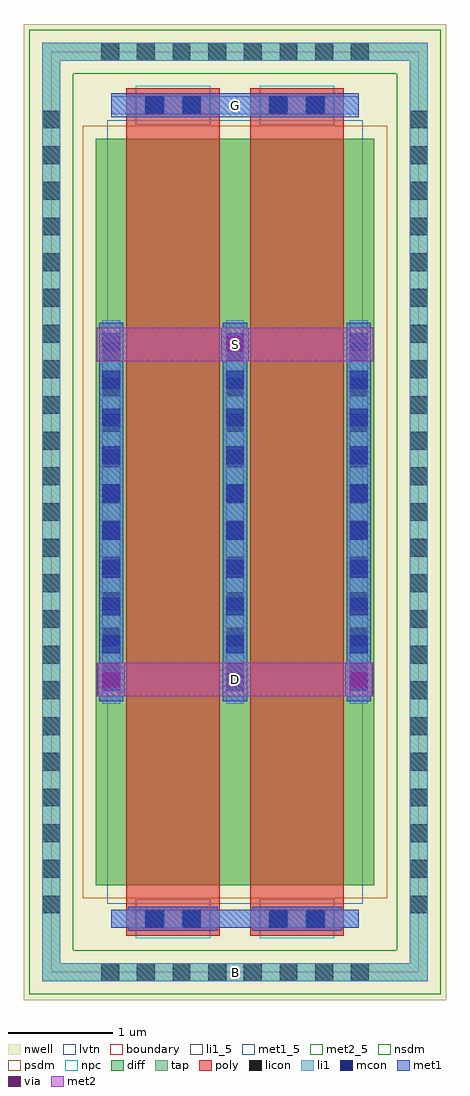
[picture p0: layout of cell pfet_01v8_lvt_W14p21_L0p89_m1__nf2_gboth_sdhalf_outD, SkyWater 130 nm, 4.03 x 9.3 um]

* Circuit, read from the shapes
.subckt pfet_01v8_lvt_W14p21_L0p89_m1__nf2_gboth_sdhalf_outD B D G S
XM1 S G D B sky130_fd_pr__pfet_01v8_lvt w=7.11 l=0.89 m=2
.ends

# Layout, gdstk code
import gdstk
lib = gdstk.Library(unit=1e-6, precision=1e-09)
def R(c, l, rs):  # rectangles x0, y0, x1, y1
    for r in rs: c.add(gdstk.rectangle(r[:2], r[2:], *l))
def A(c, l, x, y, w, h, nx, ny, dx, dy):  # array of equal rectangles
    R(c, l, [(x+i*dx, y+j*dy, x+i*dx+w, y+j*dy+h) for i in range(nx) for j in range(ny)])
nwell = (64, 20)
diff = (65, 20)
tap = (65, 44)
poly = (66, 20)
licon = (66, 44)
li1_5 = (67, 5)
li1 = (67, 20)
mcon = (67, 44)
met1_5 = (68, 5)
met1 = (68, 20)
via = (68, 44)
met2_5 = (69, 5)
met2 = (69, 20)
nsdm = (93, 44)
psdm = (94, 20)
npc = (95, 20)
lvtn = (125, 44)
boundary = (235, 4)

sky130_fd_pr__pfet_01v8_ = lib.new_cell('sky130_fd_pr__pfet_01v8_lvt_YXK2ZV')
R(sky130_fd_pr__pfet_01v8_, nwell, [(-2.015,-4.65,2.015,4.65)])
R(sky130_fd_pr__pfet_01v8_, diff, [(-1.325,-3.555,1.325,3.555)])
R(sky130_fd_pr__pfet_01v8_, tap, [(-1.835,-4.47,1.835,-4.3), (-1.835,-4.3,-1.665,4.3), (1.665,-4.3,1.835,4.3), (-1.835,4.3,1.835,4.47)])
R(sky130_fd_pr__pfet_01v8_, poly, [(-1.035,-4.04,-0.145,4.04), (0.145,-4.04,1.035,4.04)])
A(sky130_fd_pr__pfet_01v8_, licon, -1.275, -4.47, 0.17, 0.17, 8, 2, 0.34, 8.77)
A(sky130_fd_pr__pfet_01v8_, licon, -1.835, -3.825, 0.17, 0.17, 1, 23, 0, 0.34)
A(sky130_fd_pr__pfet_01v8_, licon, 1.665, -3.825, 0.17, 0.17, 1, 23, 0, 0.34)
A(sky130_fd_pr__pfet_01v8_, licon, -1.265, -1.615, 0.17, 0.17, 3, 10, 1.18, 0.34)
R(sky130_fd_pr__pfet_01v8_, licon, [(-0.845,-3.96,-0.675,-3.79), (-0.505,-3.96,-0.335,-3.79), (0.335,-3.96,0.505,-3.79), (0.675,-3.96,0.845,-3.79), (-0.845,3.79,-0.675,3.96), (-0.505,3.79,-0.335,3.96), (0.335,3.79,0.505,3.96), (0.675,3.79,0.845,3.96)])
A(sky130_fd_pr__pfet_01v8_, li1, -1.265, -1.825, 0.17, 3.65, 3, 1, 1.18, 0)
R(sky130_fd_pr__pfet_01v8_, li1, [(-1.835,-4.47,1.835,-4.3), (-1.835,-4.3,-1.665,4.3), (1.665,-4.3,1.835,4.3), (-1.18,-3.96,1.18,-3.79), (-1.18,3.79,1.18,3.96), (-1.835,4.3,1.835,4.47)])
A(sky130_fd_pr__pfet_01v8_, mcon, -1.265, -1.705, 0.17, 0.17, 3, 10, 1.18, 0.36)
R(sky130_fd_pr__pfet_01v8_, mcon, [(-0.855,-3.96,-0.685,-3.79), (-0.495,-3.96,-0.325,-3.79), (0.325,-3.96,0.495,-3.79), (0.685,-3.96,0.855,-3.79), (-0.855,3.79,-0.685,3.96), (-0.495,3.79,-0.325,3.96), (0.325,3.79,0.495,3.96), (0.685,3.79,0.855,3.96)])
A(sky130_fd_pr__pfet_01v8_, met1, -1.295, -1.805, 0.23, 3.61, 3, 1, 1.18, 0)
R(sky130_fd_pr__pfet_01v8_, met1, [(-1.015,-3.99,-0.165,-3.96), (0.165,-3.99,1.015,-3.96), (-1.18,-3.96,1.18,-3.79), (-1.015,-3.79,-0.165,-3.76), (0.165,-3.79,1.015,-3.76), (-1.015,3.76,-0.165,3.79), (0.165,3.76,1.015,3.79), (-1.18,3.79,1.18,3.96), (-1.015,3.96,-0.165,3.99), (0.165,3.96,1.015,3.99)])
R(sky130_fd_pr__pfet_01v8_, nsdm, [(-1.96,-4.595,1.96,-4.175), (-1.96,-4.175,-1.54,4.175), (1.54,-4.175,1.96,4.175), (-1.96,4.175,1.96,4.595)])
R(sky130_fd_pr__pfet_01v8_, psdm, [(-1.45,-3.68,1.45,3.68)])
R(sky130_fd_pr__pfet_01v8_, npc, [(-0.945,-4.06,-0.235,-3.69), (0.235,-4.06,0.945,-3.69), (-0.945,3.69,-0.235,4.06), (0.235,3.69,0.945,4.06)])
R(sky130_fd_pr__pfet_01v8_, lvtn, [(-1.215,-3.735,1.215,3.735)])
R(sky130_fd_pr__pfet_01v8_, boundary, [(-1.75,-4.385,1.75,4.385)])
sky130_fd_pr__pfet_01v8_.add(gdstk.Label('B', (0,-4.385), layer=67, texttype=5))
sky130_fd_pr__pfet_01v8_.add(gdstk.Label('D0', (-1.18,0), layer=67, texttype=5))
sky130_fd_pr__pfet_01v8_.add(gdstk.Label('G', (0.59,3.875), layer=67, texttype=5))
sky130_fd_pr__pfet_01v8_.add(gdstk.Label('G', (-0.59,3.875), layer=67, texttype=5))
sky130_fd_pr__pfet_01v8_.add(gdstk.Label('S1', (0,0), layer=67, texttype=5))

pfet_01v8_lvt_w14p21_l0p = lib.new_cell('pfet_01v8_lvt_W14p21_L0p89_m1__nf2_gboth_sdhalf_outD')
R(pfet_01v8_lvt_w14p21_l0p, li1_5, [(1.665,-0.085,1.835,0.085)])
R(pfet_01v8_lvt_w14p21_l0p, li1, [(1.665,-0.085,1.835,0.085)])
R(pfet_01v8_lvt_w14p21_l0p, met1_5, [(0.57,8.145,2.93,8.375)])
R(pfet_01v8_lvt_w14p21_l0p, met1, [(0.44,2.63,0.7,2.95), (2.8,2.63,3.06,2.95), (1.62,5.82,1.88,6.14), (0.57,8.145,2.93,8.375)])
R(pfet_01v8_lvt_w14p21_l0p, via, [(0.495,2.715,0.645,2.865), (2.855,2.715,3.005,2.865), (1.675,5.905,1.825,6.055)])
R(pfet_01v8_lvt_w14p21_l0p, met2_5, [(0.435,2.63,3.065,2.95), (0.435,5.82,3.065,6.14)])
R(pfet_01v8_lvt_w14p21_l0p, met2, [(0.435,2.63,3.065,2.95), (0.435,5.82,3.065,6.14)])
pfet_01v8_lvt_w14p21_l0p.add(gdstk.Reference(sky130_fd_pr__pfet_01v8_, (1.75,4.385)))
pfet_01v8_lvt_w14p21_l0p.add(gdstk.Label('S', (1.75,5.98), layer=69, texttype=5))
pfet_01v8_lvt_w14p21_l0p.add(gdstk.Label('D', (1.75,2.79), layer=69, texttype=5))
pfet_01v8_lvt_w14p21_l0p.add(gdstk.Label('G', (1.75,8.26), layer=68, texttype=5))
pfet_01v8_lvt_w14p21_l0p.add(gdstk.Label('B', (1.75,0), layer=67, texttype=5))

lib.write_gds('pfet_01v8_lvt_W14p21_L0p89_m1__nf2_gboth_sdhalf_outD.gds')
